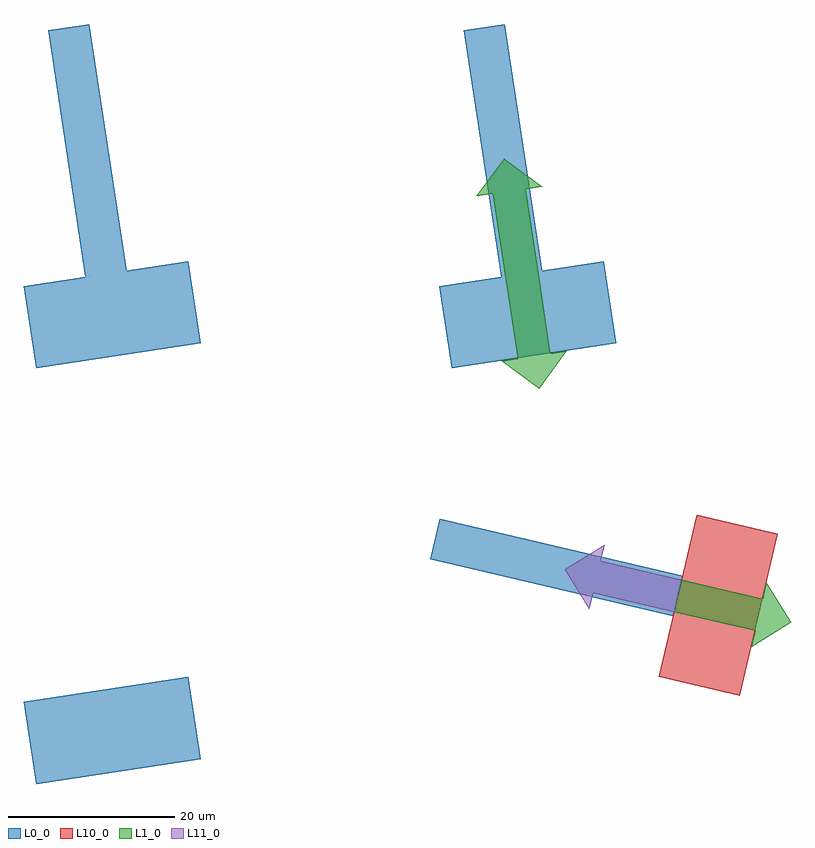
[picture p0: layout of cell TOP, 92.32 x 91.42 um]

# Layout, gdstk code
import gdstk
lib = gdstk.Library(unit=1e-6, precision=1e-09)
def P(c, l, *ps):  # polygons
    for p in ps: c.add(gdstk.Polygon(p, *l))
L0_0 = (0, 0)
L1_0 = (1, 0)
L10_0 = (10, 0)
L11_0 = (11, 0)

top = lib.new_cell('TOP')
P(top, L0_0, [(0,-6.899),(-1.494,2.989),(-21.27,0),(-19.775,-9.888)],
  [(27.638,17.151),(28.778,22.019),(57.988,15.18),(56.848,10.312)],
  [(0,43.101),(-1.494,52.989),(-21.27,50),(-19.775,40.112)],
  [(-18.337,80.784),(-13.393,81.531),(-8.91,51.868),(-13.854,51.121)],
  [(50,43.101),(48.506,52.989),(28.73,50),(30.225,40.112)],
  [(31.663,80.784),(36.607,81.531),(41.09,51.868),(36.146,51.121)])
P(top, L1_0, [(38.618,51.494),(40.595,51.793),(39.101,61.681),(41.079,61.98),(36.526,65.337),(33.168,60.784),(35.146,61.083),(36.64,51.196)],
  [(38.618,51.494),(36.64,51.196),(38.135,41.308),(36.157,41.009),(40.71,37.652),(44.067,42.204),(42.09,41.906),(40.595,51.793)],
  [(57.418,12.746),(56.962,10.798),(66.698,8.519),(66.242,6.571),(71.049,9.554),(68.066,14.361),(67.61,12.413),(57.874,14.693)])
P(top, L10_0, [(69.434,20.203),(59.698,22.482),(55.138,3.009),(64.875,0.729)])
P(top, L11_0, [(57.418,12.746),(57.874,14.693),(48.137,16.973),(48.593,18.92),(43.786,15.937),(46.769,11.131),(47.225,13.078),(56.962,10.798)])

lib.write_gds('TOP.gds')
